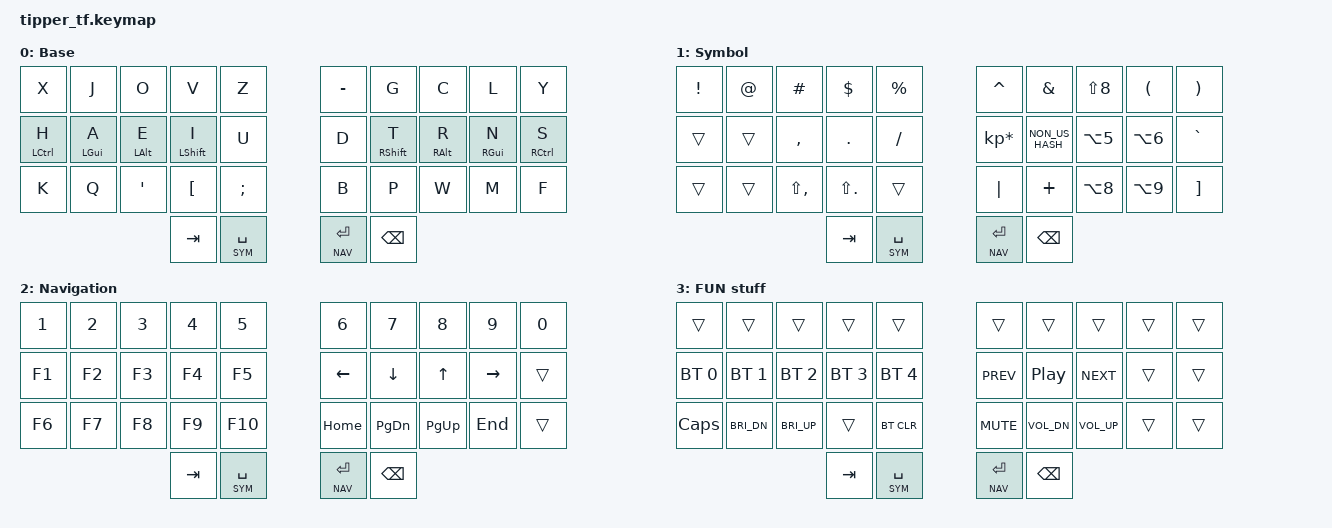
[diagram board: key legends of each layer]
/*
 * Copyright (c) 2021 weteor
 *
 * SPDX-License-Identifier: MIT
 */

#include <behaviors.dtsi>
#include <dt-bindings/zmk/keys.h>
#include <dt-bindings/zmk/bt.h>
#include <dt-bindings/zmk/outputs.h>

#define DEF 0
#define SYM 1
#define NAV 2
#define FUN 3

// repeating space/backspace
&lt { quick_tap_ms = <200>; };

/ {
    combos {
        compatible = "zmk,combos";
        combo_slash {
            timeout-ms = <50>;
            key-positions = <0 10>;
            layers = <DEF >;
            bindings = <&kp SLASH>;
            };
        combo_lBracket {
            timeout-ms = <50>;
            key-positions = <1 11>;
            layers = <DEF >;
            bindings = <&kp LEFT_BRACKET>;
            };
        combo_lBrace {
            timeout-ms = <50>;
            key-positions = <2 12>;
            layers = <DEF >;
            bindings = <&kp LEFT_BRACE>;
            };
        combo_lParanthesis {
            timeout-ms = <50>;
            key-positions = <3 13>;
            layers = <DEF >;
            bindings = <&kp LEFT_PARENTHESIS>;
            };
        combo_equal {
            timeout-ms = <50>;
            key-positions = <4 14>;
            layers = <DEF >;
            bindings = <&kp EQUAL>;
            };

        combo_asterix {
            timeout-ms = <50>;
            key-positions = <5 15>;
            layers = <DEF >;
            bindings = <&kp ASTERISK>;
            };

        combo_rParanthesis {
            timeout-ms = <50>;
            key-positions = <6 16>;
            layers = <DEF >;
            bindings = <&kp RIGHT_PARENTHESIS>;
            };
        combo_rBrace {
            timeout-ms = <50>;
            key-positions = <7 17>;
            layers = <DEF >;
            bindings = <&kp RIGHT_BRACE>;
            };
        combo_rBracket {
            timeout-ms = <50>;
            key-positions = <8 18>;
            layers = <DEF >;
            bindings = <&kp RIGHT_BRACKET>;
            };
        combo_bSlash {
            timeout-ms = <50>;
            key-positions = <9 19>;
            layers = <DEF >;
            bindings = <&kp BACKSLASH>;
            };

        combo_tab {
            timeout-ms = <50>;
            key-positions = <1 2>;
            bindings = <&kp TAB>;
            };
        combo_backspace {
            timeout-ms = <50>;
            key-positions = <7 8>;
            bindings = <&kp BACKSPACE>;
            };
        combo_esc {
            timeout-ms = <50>;
            key-positions = <0 1>;
            bindings = <&kp ESCAPE>;
            };


        combo_bleLayer {
            timeout-ms = <50>;
            key-positions = <30 31>;
            bindings = <&mo FUN>;
            };

        combo_capsWord {
            timeout-ms = <50>;
            key-positions = <22 27>;
            bindings = <&caps_word>;
            };

    };

    behaviors {
       am: alpha_mods {
            compatible = "zmk,behavior-hold-tap";
            label = "ALPHA_MT";
            #binding-cells = <2>;
            tapping-term-ms = <200>;
            quick-tap-ms = <150>;
            flavor = "balanced";
            bindings = <&kp>, <&kp>;
        };
        as: alpha_shift {
            compatible = "zmk,behavior-hold-tap";
            label = "ALPHA_SFT";
            #binding-cells = <2>;
            tapping-term-ms = <200>;
            quick-tap-ms = <150>;
            flavor = "balanced";
            bindings = <&kp>, <&kp>;
        };

        // Easy alt-tab with alt+backspace thumb using mod-morphs
        bstab: backspace_tab {
            compatible = "zmk,behavior-mod-morph";
            label = "BSPC_TAB";
            #binding-cells = <0>;
            bindings = <&kp BSPC>, <&kp TAB>;
            mods = <LALT>;
        };
        lt_bspc: layer_tap_backspace_tab {
            compatible = "zmk,behavior-hold-tap";
            label = "LT_BT";
            #binding-cells = <2>;
            tapping-term-ms = <150>;
            flavor = "balanced";
            bindings = <&mo>, <&bstab>;
        };
    };
    
// COMBOS
// vertical
// -------------------------------     -------------------------------
// |  Q  |  W  |  E  |  R  |  T  |     |  Y  |  U  |  I  |  O  |  P  | 
// |  /  |  [  |  {  |  (  |  =  |     |  *  |  )  |  }  |  ]  |  \  |  
// |  A  |  S  |  D  |  F  |  G  |     |  H  |  J  |  K  |  L  |  '  | 
//
// others:
// Q + W - escape
// W + E - tab
// I + O - backspace
// C + , - word caps
// both inner thumbs -> Layer CFG
// both left thumbs  -> Layer BLE

    keymap {
        compatible = "zmk,keymap";

        default_layer {
            label = "Base";
// -------------------------------     -------------------------------
// |  Q  |  W  |  E  |  R  |  T  |  -  |  Y  |  U  |  I  |  O  |  P  | 
// |A sft|S win|D alt|F ctl|  G  |     |  H  |J ctl|K alt|L win|' sft| 
// |  Z  |  X  |  C  |  V  |  B  |  -  |  N  |  M  |  ,  |  .  |  ;  | 
// ------|    Spc    |    Nav    |     |    Sym    |    Ent    |------
//       -------------------------     -------------------------
            bindings = <
        &kp X             &kp J      &kp O         &kp V        &kp Z             &kp MINUS    &kp G        &kp C         &kp L          &kp Y         
      &am LCTRL H   &am LGUI A    &am LALT E    &as LSHFT I   &kp U             &kp D          &as RSHFT T   &am RALT R   &am RGUI N    &am RCTRL S   
       &kp K         &kp Q         &kp SQT        &kp LBKT       &kp SEMI         &kp B          &kp P        &kp W           &kp M       &kp F      
                                              &kp TAB       &lt SYM SPACE     &lt NAV RET   &kp BSPC
            >;
        };
    

        sym_layer {
            label = "Symbol";
// -------------------------------     -------------------------------
// |  `  |  ^  |  @  |  $  |  ~  |  -  |     |     |     |     |     | 
// |  &  |  !  |  +  |  _  |  #  |     |pg up|     |     |     |     | 
// |  |  |  ?  |  -  |  %  |     |  -  |pg dn|     |     |     |     | 
// ------|           |    CFG    |     |           |           |------
//       -------------------------     -------------------------
            bindings = <
        &kp EXCL      &kp AT        &kp HASH      &kp DLLR      &kp PRCNT         &kp CARET     &kp AMPS      &kp LS(N8)     &kp LPAR     &kp RPAR       
           &trans        &trans        &kp COMMA        &kp DOT     &kp FSLH            &kp KP_MULTIPLY &kp NON_US_HASH &kp LA(N5) &kp LA(N6)  &kp GRAVE      
        &trans        &trans        &kp LS(COMMA)     &kp LS(DOT)        &trans            &kp PIPE      &kp PLUS      &kp LA(N8)    &kp LA(N9)    &kp RBKT      
                                              &kp TAB       &lt SYM SPACE     &lt NAV RET   &kp BSPC
            >;
        };
        
        nav_layer {
            label = "Navigation";
// -------------------------------     -------------------------------
// |     |     |     |     |     |  -  |     |pg dn| up  |pg up| del | 
// |     |     |     |     |     |     |home |left |down |right| end | 
// |     |     |     |     |     |  -  |     |prev | play|stop | next| 
// ------|           |           |     |    CFG    |           |------
//       -------------------------     -------------------------
            bindings = <
           &kp N1        &kp N2        &kp N3        &kp N4         &kp N5           &kp N6        &kp N7        &kp N8        &kp N9         &kp N0       
          &kp F1        &kp F2        &kp F3        &kp F4        &kp F5            &kp LEFT      &kp DOWN      &kp UP        &kp RIGHT     &trans        
            &kp F6        &kp F7        &kp F8        &kp F9        &kp F10           &kp HOME      &kp PG_DN     &kp PG_UP     &kp END       &trans        
                                              &kp TAB       &lt SYM SPACE     &lt NAV RET   &kp BSPC
            >;
        };

        function_layer {
            label = "FUN stuff";
// -------------------------------     -------------------------------
// |     |     |     |     |     |  -  | USB | BLE |     |     |BTCLR| 
// |     |     |     |     |     |     |     |     |     |     |     | 
// |     |     |     |     |     |  -  |BT_0 |BT_1 |BT_2 |BT_3 |BT_4 | 
// ------|           |           |     |           |           |------
//       -------------------------     -------------------------
            bindings = <
      &trans        &trans        &trans        &trans        &trans         &trans           &trans        &trans       &trans        &trans        
      &bt BT_SEL 0  &bt BT_SEL 1  &bt BT_SEL 2  &bt BT_SEL 3  &bt BT_SEL 4   &kp C_PREV       &kp C_PP      &kp C_NEXT  &trans        &trans        
      &kp CAPS      &kp C_BRI_DN  &kp C_BRI_UP  &trans        &bt BT_CLR     &kp C_MUTE       &kp C_VOL_DN &kp C_VOL_UP    &trans        &trans        
                                              &kp TAB       &lt SYM SPACE     &lt NAV RET   &kp BSPC
            >;
        };
    };
};


